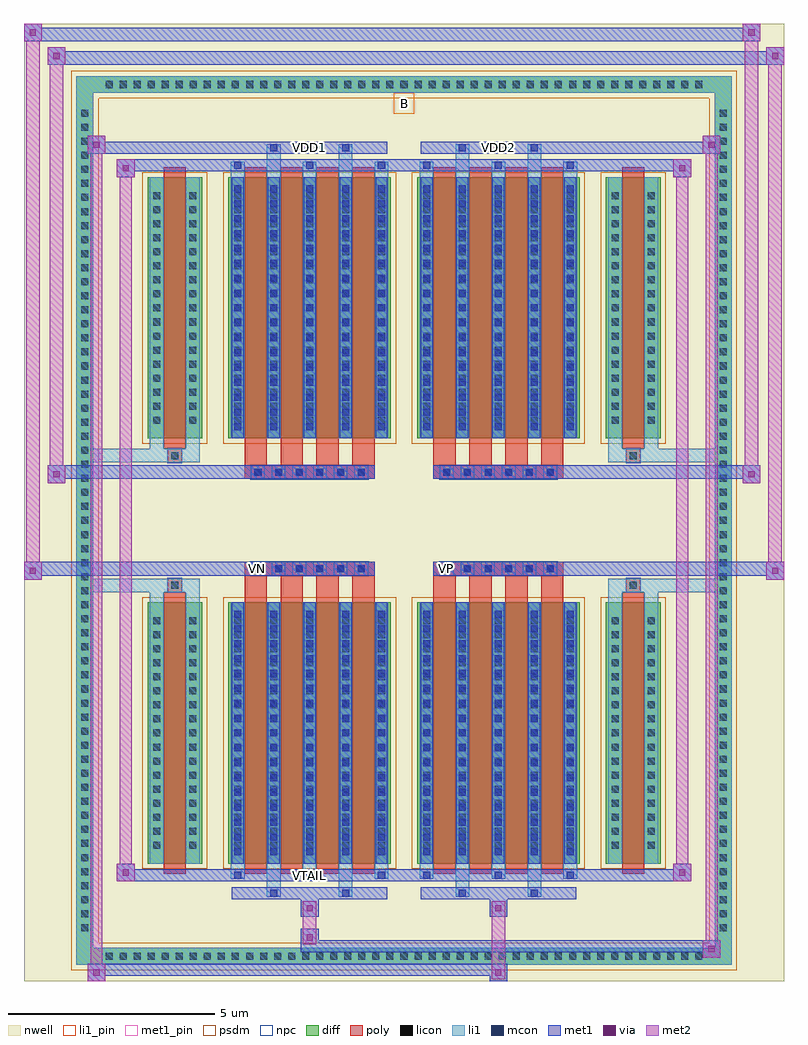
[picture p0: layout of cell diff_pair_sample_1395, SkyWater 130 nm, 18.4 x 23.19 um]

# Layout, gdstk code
import gdstk
lib = gdstk.Library(unit=1e-6, precision=5e-09)
def R(c, l, rs):  # rectangles x0, y0, x1, y1
    for r in rs: c.add(gdstk.rectangle(r[:2], r[2:], *l))
def A(c, l, x, y, w, h, nx, ny, dx, dy):  # array of equal rectangles
    R(c, l, [(x+i*dx, y+j*dy, x+i*dx+w, y+j*dy+h) for i in range(nx) for j in range(ny)])
def P(c, l, *ps):  # polygons
    for p in ps: c.add(gdstk.Polygon(p, *l))
nwell = (64, 20)
diff = (65, 20)
poly = (66, 20)
licon = (66, 44)
li1_pin = (67, 16)
li1 = (67, 20)
mcon = (67, 44)
met1_pin = (68, 16)
met1 = (68, 20)
via = (68, 44)
met2 = (69, 20)
psdm = (94, 20)
npc = (95, 20)

diff_pair_sample_1395 = lib.new_cell('diff_pair_sample_1395')
R(diff_pair_sample_1395, nwell, [(-9.2,-11.16,9.2,12.03), (-6.52,-9.35,-0.01,-0.805), (0.01,-9.35,6.52,-0.805), (-6.52,0.805,-0.01,9.35), (0.01,0.805,6.52,9.35)])
A(diff_pair_sample_1395, diff, -7.345, -10.76, 0.41, 0.41, 43, 2, 0.34, 21.11)
A(diff_pair_sample_1395, diff, -7.93, -10.065, 0.41, 0.41, 1, 59, 0, 0.34)
A(diff_pair_sample_1395, diff, 7.52, -10.065, 0.41, 0.41, 1, 59, 0, 0.34)
R(diff_pair_sample_1395, diff, [(-7.345,-10.76,7.345,-10.35), (-7.93,-10.065,-7.52,10.065), (7.52,-10.065,7.93,10.065), (-6.21,-8.305,-4.89,-1.985), (-4.25,-8.305,-0.32,-1.985), (0.32,-8.305,4.25,-1.985), (4.89,-8.305,6.21,-1.985), (-6.21,1.985,-4.89,8.305), (-4.25,1.985,-0.32,8.305), (0.32,1.985,4.25,8.305), (4.89,1.985,6.21,8.305), (-7.345,10.35,7.345,10.76)])
P(diff_pair_sample_1395, diff, [(7.93,10.76),(-7.93,10.76),(-7.93,-10.35),(-7.52,-10.35),(-7.52,10.35),(7.52,10.35),(7.52,-10.35),(-7.52,-10.35),(-7.93,-10.35),(-7.93,-10.76),(7.93,-10.76)])
A(diff_pair_sample_1395, poly, -3.86, -8.555, 0.54, 6.82, 4, 2, 0.87, 10.29)
A(diff_pair_sample_1395, poly, 0.71, -8.555, 0.54, 6.82, 4, 2, 0.87, 10.29)
A(diff_pair_sample_1395, poly, -3.86, -1.735, 0.54, 0.4, 4, 2, 0.87, 3.07)
A(diff_pair_sample_1395, poly, 0.71, -1.735, 0.54, 0.4, 4, 2, 0.87, 3.07)
A(diff_pair_sample_1395, poly, -3.7, -1.335, 0.33, 0.33, 6, 2, 0.5, 2.34)
A(diff_pair_sample_1395, poly, 0.87, -1.335, 0.33, 0.33, 6, 2, 0.5, 2.34)
R(diff_pair_sample_1395, poly, [(-5.82,-8.555,-5.28,-1.735), (5.28,-8.555,5.82,-1.735), (-5.715,-1.735,-5.385,-1.405), (-5.715,-1.735,-5.385,-1.405), (5.385,-1.735,5.715,-1.405), (5.385,-1.735,5.715,-1.405), (-3.86,-1.335,-0.71,-1.005), (0.71,-1.335,3.86,-1.005), (-3.86,1.005,-0.71,1.335), (0.71,1.005,3.86,1.335), (-5.715,1.405,-5.385,1.735), (-5.715,1.405,-5.385,1.735), (5.385,1.405,5.715,1.735), (5.385,1.405,5.715,1.735), (-5.82,1.735,-5.28,8.555), (5.28,1.735,5.82,8.555)])
A(diff_pair_sample_1395, licon, -7.225, -10.64, 0.17, 0.17, 43, 2, 0.34, 21.11)
A(diff_pair_sample_1395, licon, -7.81, -9.945, 0.17, 0.17, 1, 59, 0, 0.34)
A(diff_pair_sample_1395, licon, 7.64, -9.945, 0.17, 0.17, 1, 59, 0, 0.34)
A(diff_pair_sample_1395, licon, -6.07, -7.95, 0.17, 0.17, 1, 17, 0, 0.34)
A(diff_pair_sample_1395, licon, -5.2, -7.95, 0.17, 0.17, 1, 17, 0, 0.34)
A(diff_pair_sample_1395, licon, -4.11, -7.95, 0.17, 0.17, 5, 17, 0.87, 0.34)
A(diff_pair_sample_1395, licon, 0.46, -7.95, 0.17, 0.17, 5, 17, 0.87, 0.34)
A(diff_pair_sample_1395, licon, 5.03, -7.95, 0.17, 0.17, 1, 17, 0, 0.34)
A(diff_pair_sample_1395, licon, 5.9, -7.95, 0.17, 0.17, 1, 17, 0, 0.34)
A(diff_pair_sample_1395, licon, -3.62, -1.255, 0.17, 0.17, 6, 2, 0.5, 2.34)
A(diff_pair_sample_1395, licon, 0.95, -1.255, 0.17, 0.17, 6, 2, 0.5, 2.34)
A(diff_pair_sample_1395, licon, -6.07, 2.34, 0.17, 0.17, 1, 17, 0, 0.34)
A(diff_pair_sample_1395, licon, -5.2, 2.34, 0.17, 0.17, 1, 17, 0, 0.34)
A(diff_pair_sample_1395, licon, -4.11, 2.34, 0.17, 0.17, 5, 17, 0.87, 0.34)
A(diff_pair_sample_1395, licon, 0.46, 2.34, 0.17, 0.17, 5, 17, 0.87, 0.34)
A(diff_pair_sample_1395, licon, 5.03, 2.34, 0.17, 0.17, 1, 17, 0, 0.34)
A(diff_pair_sample_1395, licon, 5.9, 2.34, 0.17, 0.17, 1, 17, 0, 0.34)
R(diff_pair_sample_1395, licon, [(-5.635,-1.655,-5.465,-1.485), (5.465,-1.655,5.635,-1.485), (-5.635,1.485,-5.465,1.655), (5.465,1.485,5.635,1.655)])
R(diff_pair_sample_1395, li1_pin, [(-0.25,9.85,0.25,10.35)])
A(diff_pair_sample_1395, li1, -7.305, -10.72, 0.33, 0.33, 43, 2, 0.34, 21.11)
A(diff_pair_sample_1395, li1, -7.89, -10.025, 0.33, 0.33, 1, 59, 0, 0.34)
A(diff_pair_sample_1395, li1, 7.56, -10.025, 0.33, 0.33, 1, 59, 0, 0.34)
A(diff_pair_sample_1395, li1, -4.19, -8.68, 0.33, 0.375, 3, 2, 1.74, 16.985)
A(diff_pair_sample_1395, li1, -4.11, -8.68, 0.17, 0.17, 3, 2, 1.74, 17.19)
A(diff_pair_sample_1395, li1, 0.38, -8.68, 0.33, 0.375, 3, 2, 1.74, 16.985)
A(diff_pair_sample_1395, li1, 0.46, -8.68, 0.17, 0.17, 3, 2, 1.74, 17.19)
A(diff_pair_sample_1395, li1, -4.19, -8.305, 0.33, 6.32, 5, 2, 0.87, 10.29)
A(diff_pair_sample_1395, li1, 0.38, -8.305, 0.33, 6.32, 5, 2, 0.87, 10.29)
A(diff_pair_sample_1395, li1, -4.11, -8.11, 0.17, 0.17, 5, 17, 0.87, 0.36)
A(diff_pair_sample_1395, li1, -4.11, -8.11, 0.17, 5.93, 5, 2, 0.87, 10.29)
A(diff_pair_sample_1395, li1, 0.46, -8.11, 0.17, 0.17, 5, 17, 0.87, 0.36)
A(diff_pair_sample_1395, li1, 0.46, -8.11, 0.17, 5.93, 5, 2, 0.87, 10.29)
A(diff_pair_sample_1395, li1, -6.15, -8.03, 0.33, 0.33, 1, 17, 0, 0.34)
A(diff_pair_sample_1395, li1, -5.28, -8.03, 0.33, 0.33, 1, 17, 0, 0.34)
A(diff_pair_sample_1395, li1, -4.19, -8.03, 0.33, 0.33, 5, 17, 0.87, 0.34)
A(diff_pair_sample_1395, li1, 0.38, -8.03, 0.33, 0.33, 5, 17, 0.87, 0.34)
A(diff_pair_sample_1395, li1, 4.95, -8.03, 0.33, 0.33, 1, 17, 0, 0.34)
A(diff_pair_sample_1395, li1, 5.82, -8.03, 0.33, 0.33, 1, 17, 0, 0.34)
A(diff_pair_sample_1395, li1, -3.7, -1.335, 0.33, 0.33, 6, 2, 0.5, 2.34)
A(diff_pair_sample_1395, li1, 0.87, -1.335, 0.33, 0.33, 6, 2, 0.5, 2.34)
A(diff_pair_sample_1395, li1, -4.11, 2.18, 0.17, 0.17, 5, 17, 0.87, 0.36)
A(diff_pair_sample_1395, li1, 0.46, 2.18, 0.17, 0.17, 5, 17, 0.87, 0.36)
A(diff_pair_sample_1395, li1, -6.15, 2.26, 0.33, 0.33, 1, 17, 0, 0.34)
A(diff_pair_sample_1395, li1, -5.28, 2.26, 0.33, 0.33, 1, 17, 0, 0.34)
A(diff_pair_sample_1395, li1, -4.19, 2.26, 0.33, 0.33, 5, 17, 0.87, 0.34)
A(diff_pair_sample_1395, li1, 0.38, 2.26, 0.33, 0.33, 5, 17, 0.87, 0.34)
A(diff_pair_sample_1395, li1, 4.95, 2.26, 0.33, 0.33, 1, 17, 0, 0.34)
A(diff_pair_sample_1395, li1, 5.82, 2.26, 0.33, 0.33, 1, 17, 0, 0.34)
R(diff_pair_sample_1395, li1, [(-7.93,-10.76,-7.52,-10.35), (-7.93,-10.76,-7.52,-10.35), (-7.52,-10.76,7.52,-10.35), (7.52,-10.76,7.93,-10.35), (7.52,-10.76,7.93,-10.35), (-7.93,-10.35,-7.52,10.35), (7.52,-10.35,7.93,10.35), (-3.32,-9.11,-2.99,-8.305), (-3.24,-9.11,-3.07,-8.94), (-1.58,-9.11,-1.25,-8.305), (-1.5,-9.11,-1.33,-8.94), (1.25,-9.11,1.58,-8.305), (1.33,-9.11,1.5,-8.94), (2.99,-9.11,3.32,-8.305), (3.07,-9.11,3.24,-8.94), (-6.15,-8.305,-5.82,-1.985), (-5.28,-8.305,-4.95,-1.985), (4.95,-8.305,5.28,-1.985), (5.82,-8.305,6.15,-1.985), (-6.15,-1.985,-5.82,-1.405), (-5.28,-1.985,-4.95,-1.405), (4.95,-1.985,5.28,-1.405), (5.82,-1.985,6.15,-1.405), (-7.93,-1.735,-5.715,-1.405), (-6.15,-1.735,-5.715,-1.405), (-5.715,-1.735,-5.385,-1.405), (-5.385,-1.735,-4.95,-1.405), (4.95,-1.735,5.385,-1.405), (5.385,-1.735,5.715,-1.405), (5.385,-1.735,7.93,-1.405), (5.715,-1.735,6.15,-1.405), (-7.93,1.405,-5.715,1.735), (-6.15,1.405,-5.715,1.735), (-6.15,1.405,-5.82,1.985), (-5.715,1.405,-5.385,1.735), (-5.385,1.405,-4.95,1.735), (-5.28,1.405,-4.95,1.985), (4.95,1.405,5.385,1.735), (4.95,1.405,5.28,1.985), (5.385,1.405,5.715,1.735), (5.385,1.405,7.93,1.735), (5.715,1.405,6.15,1.735), (5.82,1.405,6.15,1.985), (-6.15,1.985,-5.82,8.305), (-5.28,1.985,-4.95,8.305), (4.95,1.985,5.28,8.305), (5.82,1.985,6.15,8.305), (-3.32,8.305,-2.99,9.11), (-1.58,8.305,-1.25,9.11), (1.25,8.305,1.58,9.11), (2.99,8.305,3.32,9.11), (-3.24,8.94,-3.07,9.11), (-1.5,8.94,-1.33,9.11), (1.33,8.94,1.5,9.11), (3.07,8.94,3.24,9.11), (-7.93,10.35,-7.52,10.76), (-7.93,10.35,-7.52,10.76), (-7.52,10.35,7.52,10.76), (7.52,10.35,7.93,10.76), (7.52,10.35,7.93,10.76)])
A(diff_pair_sample_1395, mcon, -4.11, -8.68, 0.17, 0.17, 3, 2, 1.74, 17.19)
A(diff_pair_sample_1395, mcon, 0.46, -8.68, 0.17, 0.17, 3, 2, 1.74, 17.19)
A(diff_pair_sample_1395, mcon, -4.11, -8.11, 0.17, 0.17, 5, 17, 0.87, 0.36)
A(diff_pair_sample_1395, mcon, 0.46, -8.11, 0.17, 0.17, 5, 17, 0.87, 0.36)
A(diff_pair_sample_1395, mcon, -3.62, -1.255, 0.17, 0.17, 6, 2, 0.5, 2.34)
A(diff_pair_sample_1395, mcon, 0.95, -1.255, 0.17, 0.17, 6, 2, 0.5, 2.34)
A(diff_pair_sample_1395, mcon, -4.11, 2.18, 0.17, 0.17, 5, 17, 0.87, 0.36)
A(diff_pair_sample_1395, mcon, 0.46, 2.18, 0.17, 0.17, 5, 17, 0.87, 0.36)
R(diff_pair_sample_1395, mcon, [(-3.24,-9.11,-3.07,-8.94), (-1.5,-9.11,-1.33,-8.94), (1.33,-9.11,1.5,-8.94), (3.07,-9.11,3.24,-8.94), (-3.24,8.94,-3.07,9.11), (-1.5,8.94,-1.33,9.11), (1.33,8.94,1.5,9.11), (3.07,8.94,3.24,9.11)])
R(diff_pair_sample_1395, met1_pin, [(-2.42,-8.72,-2.15,-8.45), (-3.67,-1.295,-3.4,-1.025), (0.9,-1.295,1.17,-1.025), (-2.42,8.9,-2.15,9.17), (2.15,8.9,2.42,9.17)])
A(diff_pair_sample_1395, met1, -4.17, -8.74, 0.29, 0.29, 3, 2, 1.74, 17.19)
A(diff_pair_sample_1395, met1, 0.4, -8.74, 0.29, 0.29, 3, 2, 1.74, 17.19)
A(diff_pair_sample_1395, met1, -4.17, -8.305, 0.29, 6.32, 5, 2, 0.87, 10.29)
A(diff_pair_sample_1395, met1, 0.4, -8.305, 0.29, 6.32, 5, 2, 0.87, 10.29)
A(diff_pair_sample_1395, met1, -4.17, -8.17, 0.29, 0.29, 5, 17, 0.87, 0.36)
A(diff_pair_sample_1395, met1, 0.4, -8.17, 0.29, 0.29, 5, 17, 0.87, 0.36)
A(diff_pair_sample_1395, met1, -3.68, -1.315, 0.29, 0.29, 6, 2, 0.5, 2.34)
A(diff_pair_sample_1395, met1, 0.89, -1.315, 0.29, 0.29, 6, 2, 0.5, 2.34)
A(diff_pair_sample_1395, met1, -4.17, 2.12, 0.29, 0.29, 5, 17, 0.87, 0.36)
A(diff_pair_sample_1395, met1, 0.4, 2.12, 0.29, 0.29, 5, 17, 0.87, 0.36)
R(diff_pair_sample_1395, met1, [(-7.66,-11.16,-7.23,-10.73), (2.07,-11.16,2.5,-10.73), (-7.66,-11.02,2.5,-10.73), (7.23,-10.59,7.66,-10.16), (-2.5,-10.45,7.66,-10.16), (-2.5,-10.31,-2.07,-9.88), (-2.5,-9.6,-2.07,-9.17), (2.07,-9.6,2.5,-9.17), (-4.17,-9.17,-0.4,-8.88), (-3.3,-9.17,-3.01,-8.88), (-1.56,-9.17,-1.27,-8.88), (0.4,-9.17,4.17,-8.88), (1.27,-9.17,1.56,-8.88), (3.01,-9.17,3.3,-8.88), (-6.95,-8.74,-6.52,-8.31), (-6.95,-8.74,-4.17,-8.45), (-4.17,-8.74,-0.4,-8.45), (-0.4,-8.74,0.4,-8.45), (0.4,-8.74,4.17,-8.45), (4.17,-8.74,6.95,-8.45), (6.52,-8.74,6.95,-8.31), (-9.2,-1.435,-8.77,-1.005), (8.77,-1.435,9.2,-1.005), (-9.2,-1.335,-0.71,-1.005), (-3.86,-1.335,-0.71,-1.005), (0.71,-1.335,3.86,-1.005), (0.71,-1.335,9.2,-1.005), (-8.63,0.905,-8.2,1.335), (8.2,0.905,8.63,1.335), (-8.63,1.005,-3.86,1.335), (-3.86,1.005,-0.71,1.335), (0.71,1.005,3.86,1.335), (3.86,1.005,8.63,1.335), (-6.95,8.31,-6.52,8.74), (6.52,8.31,6.95,8.74), (-6.95,8.45,-4.17,8.74), (-4.17,8.45,-0.4,8.74), (-0.4,8.45,0.4,8.74), (0.4,8.45,4.17,8.74), (4.17,8.45,6.95,8.74), (-7.66,8.88,-7.23,9.31), (-7.66,8.88,-4.17,9.17), (-4.17,8.88,-0.4,9.17), (-3.3,8.88,-3.01,9.17), (-1.56,8.88,-1.27,9.17), (0.4,8.88,4.17,9.17), (1.27,8.88,1.56,9.17), (3.01,8.88,3.3,9.17), (4.17,8.88,7.66,9.17), (7.23,8.88,7.66,9.31), (-8.63,11.03,-8.2,11.46), (-8.63,11.03,-6.52,11.36), (-6.52,11.03,6.52,11.36), (6.52,11.03,9.2,11.36), (8.77,11.03,9.2,11.46), (-9.2,11.6,-8.77,12.03), (-9.2,11.6,-6.52,11.93), (-6.52,11.6,6.52,11.93), (6.52,11.6,8.63,11.93), (8.2,11.6,8.63,12.03)])
R(diff_pair_sample_1395, via, [(-7.52,-11.02,-7.37,-10.87), (2.21,-11.02,2.36,-10.87), (7.37,-10.45,7.52,-10.3), (-2.36,-10.17,-2.21,-10.02), (-2.36,-9.46,-2.21,-9.31), (2.21,-9.46,2.36,-9.31), (-6.81,-8.6,-6.66,-8.45), (6.66,-8.6,6.81,-8.45), (-9.06,-1.295,-8.91,-1.145), (8.91,-1.295,9.06,-1.145), (-8.49,1.045,-8.34,1.195), (8.34,1.045,8.49,1.195), (-6.81,8.45,-6.66,8.6), (6.66,8.45,6.81,8.6), (-7.52,9.02,-7.37,9.17), (7.37,9.02,7.52,9.17), (-8.49,11.17,-8.34,11.32), (8.91,11.17,9.06,11.32), (-9.06,11.74,-8.91,11.89), (8.34,11.74,8.49,11.89)])
R(diff_pair_sample_1395, met2, [(-7.66,-11.16,-7.23,-10.73), (-7.59,-11.16,-7.3,9.31), (-7.3,-11.16,-7.23,-10.73), (-7.61,-11.11,-7.28,-10.78), (2.12,-11.11,2.45,-10.78), (2.12,-10.78,2.45,-9.55), (7.23,-10.59,7.66,-10.16), (7.3,-10.59,7.59,9.31), (7.59,-10.59,7.66,-10.16), (7.28,-10.54,7.61,-10.21), (-2.45,-10.26,-2.12,-9.93), (-2.45,-9.93,-2.12,-9.55), (-2.45,-9.55,-2.12,-9.22), (2.12,-9.55,2.45,-9.22), (-6.95,-8.74,-6.52,-8.31), (-6.88,-8.74,-6.59,8.74), (-6.59,-8.74,-6.52,-8.31), (6.52,-8.74,6.95,-8.31), (6.59,-8.74,6.88,8.74), (6.88,-8.74,6.95,-8.31), (-6.9,-8.69,-6.57,-8.36), (6.57,-8.69,6.9,-8.36), (-9.2,-1.435,-8.77,-1.005), (-9.15,-1.435,-8.82,12.03), (-8.82,-1.435,-8.77,-1.005), (8.77,-1.435,9.2,-1.005), (8.82,-1.435,9.15,11.46), (9.15,-1.435,9.2,-1.005), (-9.15,-1.385,-8.82,-1.055), (8.82,-1.385,9.15,-1.055), (-8.63,0.905,-8.2,1.335), (-8.58,0.905,-8.25,11.46), (-8.25,0.905,-8.2,1.335), (8.2,0.905,8.63,1.335), (8.25,0.905,8.58,12.03), (8.58,0.905,8.63,1.335), (-8.58,0.955,-8.25,1.285), (8.25,0.955,8.58,1.285), (-6.95,8.31,-6.52,8.74), (-6.59,8.31,-6.52,8.74), (6.52,8.31,6.95,8.74), (6.88,8.31,6.95,8.74), (-6.9,8.36,-6.57,8.69), (6.57,8.36,6.9,8.69), (-7.66,8.88,-7.23,9.31), (-7.3,8.88,-7.23,9.31), (7.23,8.88,7.66,9.31), (7.59,8.88,7.66,9.31), (-7.61,8.93,-7.28,9.26), (7.28,8.93,7.61,9.26), (-8.63,11.03,-8.2,11.46), (-8.25,11.03,-8.2,11.46), (8.77,11.03,9.2,11.46), (9.15,11.03,9.2,11.46), (-8.58,11.08,-8.25,11.41), (8.82,11.08,9.15,11.41), (-9.2,11.6,-8.77,12.03), (-8.82,11.6,-8.77,12.03), (8.2,11.6,8.63,12.03), (8.58,11.6,8.63,12.03), (-9.15,11.65,-8.82,11.98), (8.25,11.65,8.58,11.98)])
R(diff_pair_sample_1395, psdm, [(-6.34,-8.435,-4.76,-1.855), (-4.38,-8.435,-0.19,-1.855), (0.19,-8.435,4.38,-1.855), (4.76,-8.435,6.34,-1.855), (-6.34,1.855,-4.76,8.435), (-4.38,1.855,-0.19,8.435), (0.19,1.855,4.38,8.435), (4.76,1.855,6.34,8.435)])
P(diff_pair_sample_1395, psdm, [(8.06,10.89),(-8.06,10.89),(-8.06,-10.22),(-7.39,-10.22),(-7.39,10.22),(7.39,10.22),(7.39,-10.22),(-7.39,-10.22),(-8.06,-10.22),(-8.06,-10.89),(8.06,-10.89)])
A(diff_pair_sample_1395, npc, -3.72, -1.355, 0.37, 0.37, 6, 2, 0.5, 2.34)
A(diff_pair_sample_1395, npc, 0.85, -1.355, 0.37, 0.37, 6, 2, 0.5, 2.34)
R(diff_pair_sample_1395, npc, [(-5.735,-1.755,-5.365,-1.385), (5.365,-1.755,5.735,-1.385), (-3.72,-1.355,-2.85,-0.985), (-3.72,-1.355,-2.85,-0.985), (-3.22,-1.355,-2.35,-0.985), (-3.22,-1.355,-2.35,-0.985), (-2.72,-1.355,-1.85,-0.985), (-2.72,-1.355,-1.85,-0.985), (-2.22,-1.355,-1.35,-0.985), (-2.22,-1.355,-1.35,-0.985), (-1.72,-1.355,-0.85,-0.985), (-1.72,-1.355,-0.85,-0.985), (0.85,-1.355,1.72,-0.985), (0.85,-1.355,1.72,-0.985), (1.35,-1.355,2.22,-0.985), (1.35,-1.355,2.22,-0.985), (1.85,-1.355,2.72,-0.985), (1.85,-1.355,2.72,-0.985), (2.35,-1.355,3.22,-0.985), (2.35,-1.355,3.22,-0.985), (2.85,-1.355,3.72,-0.985), (2.85,-1.355,3.72,-0.985), (-3.72,0.985,-2.85,1.355), (-3.72,0.985,-2.85,1.355), (-3.22,0.985,-2.35,1.355), (-3.22,0.985,-2.35,1.355), (-2.72,0.985,-1.85,1.355), (-2.72,0.985,-1.85,1.355), (-2.22,0.985,-1.35,1.355), (-2.22,0.985,-1.35,1.355), (-1.72,0.985,-0.85,1.355), (-1.72,0.985,-0.85,1.355), (0.85,0.985,1.72,1.355), (0.85,0.985,1.72,1.355), (1.35,0.985,2.22,1.355), (1.35,0.985,2.22,1.355), (1.85,0.985,2.72,1.355), (1.85,0.985,2.72,1.355), (2.35,0.985,3.22,1.355), (2.35,0.985,3.22,1.355), (2.85,0.985,3.72,1.355), (2.85,0.985,3.72,1.355), (-5.735,1.385,-5.365,1.755), (5.365,1.385,5.735,1.755)])
diff_pair_sample_1395.add(gdstk.Label('VTAIL', (-2.285,-8.585), layer=68, texttype=5))
diff_pair_sample_1395.add(gdstk.Label('VN', (-3.535,-1.16), layer=68, texttype=5))
diff_pair_sample_1395.add(gdstk.Label('VP', (1.035,-1.16), layer=68, texttype=5))
diff_pair_sample_1395.add(gdstk.Label('B', (0,10.1), layer=67, texttype=5))
diff_pair_sample_1395.add(gdstk.Label('VDD2', (2.285,9.035), layer=68, texttype=5))
diff_pair_sample_1395.add(gdstk.Label('VDD1', (-2.285,9.035), layer=68, texttype=5))

lib.write_gds('diff_pair_sample_1395.gds')
